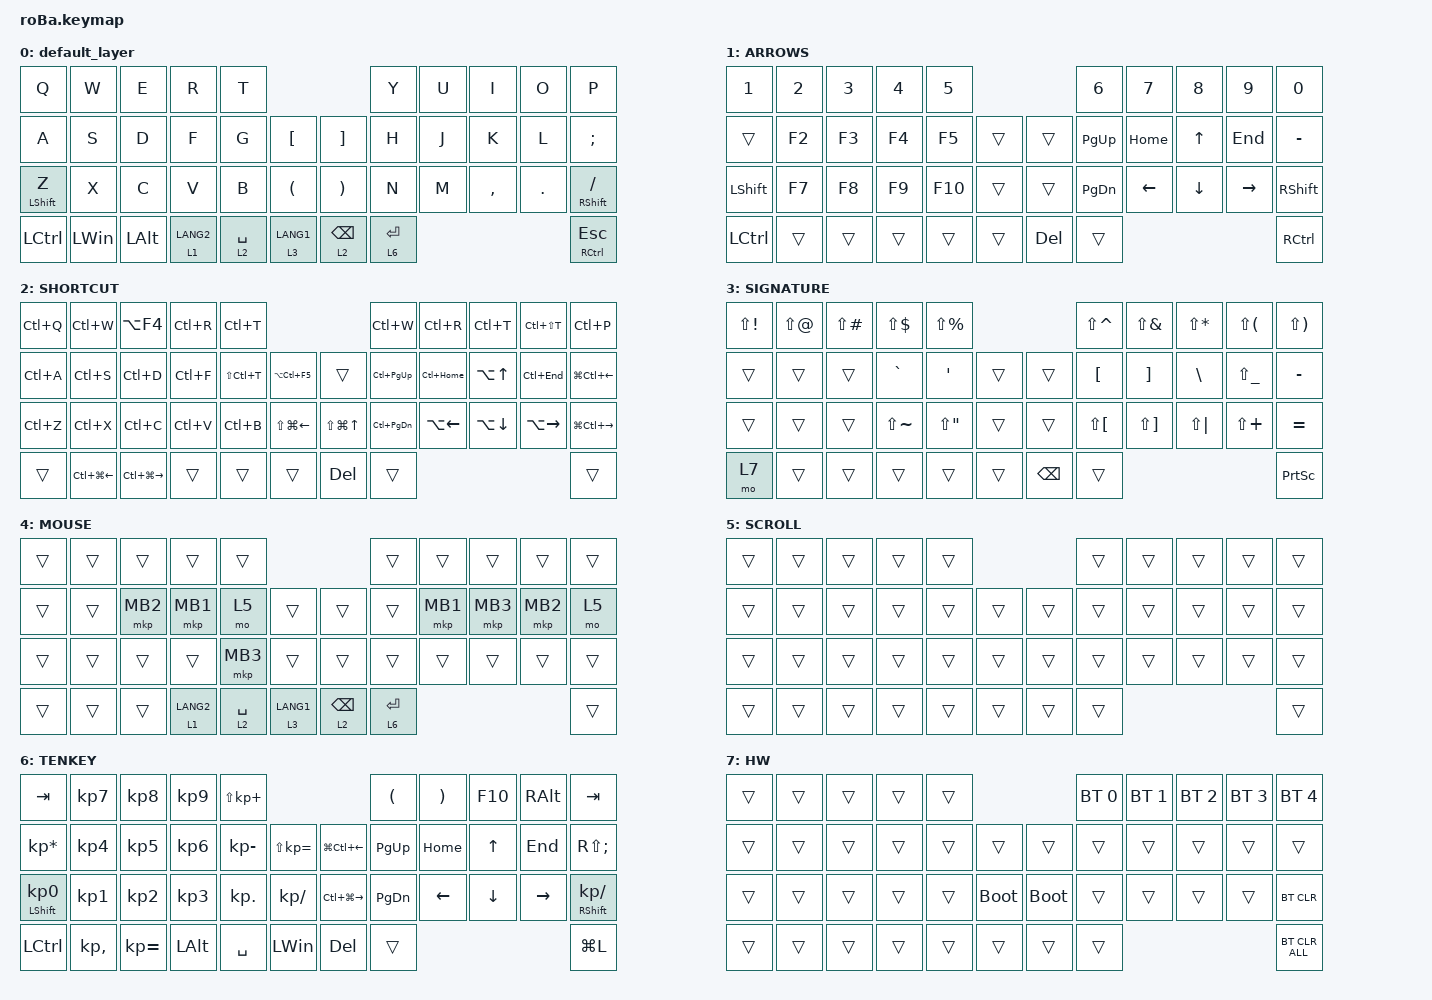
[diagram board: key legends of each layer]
#include <behaviors.dtsi>
#include <dt-bindings/zmk/bt.h>
#include <dt-bindings/zmk/keys.h>
#include <dt-bindings/zmk/pointing.h>

#define MOUSE 4
#define SCROLL 5
#define NUM 6

/ {
    combos { compatible = "zmk,combos"; };

    macros {
        to_layer_0: to_layer_0 {
            compatible = "zmk,behavior-macro-one-param";
            #binding-cells = <1>;
            bindings = <&to 0 &macro_param_1to1 &kp MACRO_PLACEHOLDER>;
            label = "TO_LAYER_0";
        };
    };

    behaviors {
        mt_tap: behavior-hold-tap {
            compatible = "zmk,behavior-hold-tap";
            label = "MT_TAP_PREF";
            #binding-cells = <2>;
            tapping-term-ms = <200>;
            flavor = "tap-preferred";
            bindings = <&kp>, <&kp>;
        };
    };

    keymap {
        compatible = "zmk,keymap";

        default_layer {
            bindings = <
&kp Q                 &kp W         &kp E         &kp R        &kp T                                                         &kp Y        &kp U  &kp I      &kp O    &kp P
&kp A                 &kp S         &kp D         &kp F        &kp G        &kp LBKT                  &kp RBKT               &kp H        &kp J  &kp K      &kp L    &kp SEMI
&mt_tap LEFT_SHIFT Z  &kp X         &kp C         &kp V        &kp B        &kp LEFT_PARENTHESIS      &kp RIGHT_PARENTHESIS  &kp N        &kp M  &kp COMMA  &kp DOT  &mt_tap RIGHT_SHIFT SLASH
&kp LCTRL             &kp LEFT_WIN  &kp LEFT_ALT  &lt 1 LANG2  &lt 2 SPACE  &lt 3 LANG1               &lt 2 BACKSPACE        &lt 6 ENTER                             &mt RCTRL ESC
            >;
        };

        ARROWS {
            bindings = <
&kp N1     &kp N2  &kp N3  &kp N4  &kp N5                        &kp N6     &kp N7    &kp N8    &kp N9     &kp N0
&trans     &kp F2  &kp F3  &kp F4  &kp F5   &trans      &trans   &kp PG_UP  &kp HOME  &kp UP    &kp END    &kp MINUS
&kp LSHFT  &kp F7  &kp F8  &kp F9  &kp F10  &trans      &trans   &kp PG_DN  &kp LEFT  &kp DOWN  &kp RIGHT  &kp RSHFT
&kp LCTRL  &trans  &trans  &trans  &trans   &trans      &kp DEL  &trans                                    &kp RCTRL
            >;
        };

        SHORTCUT {
            bindings = <
&kp LC(Q)  &kp LC(W)         &kp LA(F4)         &kp LC(R)  &kp LC(T)                                                  &kp LC(W)          &kp LC(R)     &kp LC(T)     &kp LC(LS(T))  &kp LC(P)
&kp LC(A)  &kp LC(S)         &kp LC(D)          &kp LC(F)  &kp LS(LC(T))  &kp LA(LC(F5))        &trans                &kp LC(PAGE_UP)    &kp LC(HOME)  &kp LA(UP)    &kp LC(END)    &kp LG(LC(LEFT))
&kp LC(Z)  &kp LC(X)         &kp LC(C)          &kp LC(V)  &kp LC(B)      &kp LS(LG(LEFT))      &kp LS(LG(UP_ARROW))  &kp LC(PAGE_DOWN)  &kp LA(LEFT)  &kp LA(DOWN)  &kp LA(RIGHT)  &kp LG(LC(RIGHT))
&trans     &kp LC(LG(LEFT))  &kp LC(LG(RIGHT))  &trans     &trans         &trans                &kp DELETE            &trans                                                        &trans
            >;
        };

        SIGNATURE {
            bindings = <
&kp LS(EXCL)  &kp LS(AT)  &kp LS(POUND)  &kp LS(DLLR)   &kp LS(PRCNT)                             &kp LS(CARET)         &kp LS(AMPS)           &kp LS(STAR)  &kp LS(LPAR)   &kp LS(RPAR)
&trans        &trans      &trans         &kp GRAVE      &kp SQT        &trans      &trans         &kp LEFT_BRACKET      &kp RIGHT_BRACKET      &kp BSLH      &kp LS(UNDER)  &kp MINUS
&trans        &trans      &trans         &kp LS(TILDE)  &kp LS(DQT)    &trans      &trans         &kp LS(LEFT_BRACKET)  &kp LS(RIGHT_BRACKET)  &kp LS(PIPE)  &kp LS(PLUS)   &kp EQUAL
&mo 7         &trans      &trans         &trans         &trans         &trans      &kp BACKSPACE  &trans                                                                    &kp PRINTSCREEN
            >;
        };

        MOUSE {
            bindings = <
&trans  &trans  &trans    &trans       &trans                                         &trans       &trans    &trans    &trans    &trans
&trans  &trans  &mkp MB2  &mkp MB1     &mo 5        &trans           &trans           &trans       &mkp MB1  &mkp MB3  &mkp MB2  &mo 5
&trans  &trans  &trans    &trans       &mkp MB3     &trans           &trans           &trans       &trans    &trans    &trans    &trans
&trans  &trans  &trans    &lt 1 LANG2  &lt 2 SPACE  &lt 3 LANG1      &lt 2 BACKSPACE  &lt 6 ENTER                                &trans
            >;
        };

        SCROLL {
            bindings = <
&trans  &trans  &trans  &trans  &trans                      &trans  &trans  &trans  &trans  &trans
&trans  &trans  &trans  &trans  &trans  &trans      &trans  &trans  &trans  &trans  &trans  &trans
&trans  &trans  &trans  &trans  &trans  &trans      &trans  &trans  &trans  &trans  &trans  &trans
&trans  &trans  &trans  &trans  &trans  &trans      &trans  &trans                          &trans
            >;
        };

        TENKEY {
            bindings = <
&kp TAB          &kp KP_NUMBER_7  &kp KP_NUMBER_8  &kp KP_NUMBER_9  &kp LS(KP_PLUS)                                           &kp LEFT_PARENTHESIS  &kp RIGHT_PARENTHESIS  &kp F10   &kp RIGHT_ALT  &kp TAB
&kp KP_ASTERISK  &kp KP_NUMBER_4  &kp KP_NUMBER_5  &kp KP_NUMBER_6  &kp KP_MINUS     &kp LS(KP_EQUAL)      &kp LG(LC(LEFT))   &kp PG_UP             &kp HOME               &kp UP    &kp END        &kp RS(SEMICOLON)
&mt LSHFT KP_N0  &kp KP_NUMBER_1  &kp KP_NUMBER_2  &kp KP_NUMBER_3  &kp KP_DOT       &kp KP_DIVIDE         &kp LC(LG(RIGHT))  &kp PG_DN             &kp LEFT               &kp DOWN  &kp RIGHT      &mt RIGHT_SHIFT KP_SLASH
&kp LCTRL        &kp KP_COMMA     &kp KP_EQUAL     &kp LALT         &kp SPACE        &kp LEFT_WIN          &kp DELETE         &trans                                                                &kp LG(L)
            >;
        };

        HW {
            bindings = <
&trans  &trans  &trans  &trans  &trans                                &bt BT_SEL 0  &bt BT_SEL 1  &bt BT_SEL 2  &bt BT_SEL 3  &bt BT_SEL 4
&trans  &trans  &trans  &trans  &trans  &trans           &trans       &trans        &trans        &trans        &trans        &trans
&trans  &trans  &trans  &trans  &trans  &bootloader      &bootloader  &trans        &trans        &trans        &trans        &bt BT_CLR
&trans  &trans  &trans  &trans  &trans  &trans           &trans       &trans                                                  &bt BT_CLR_ALL
            >;
        };
    };
};
